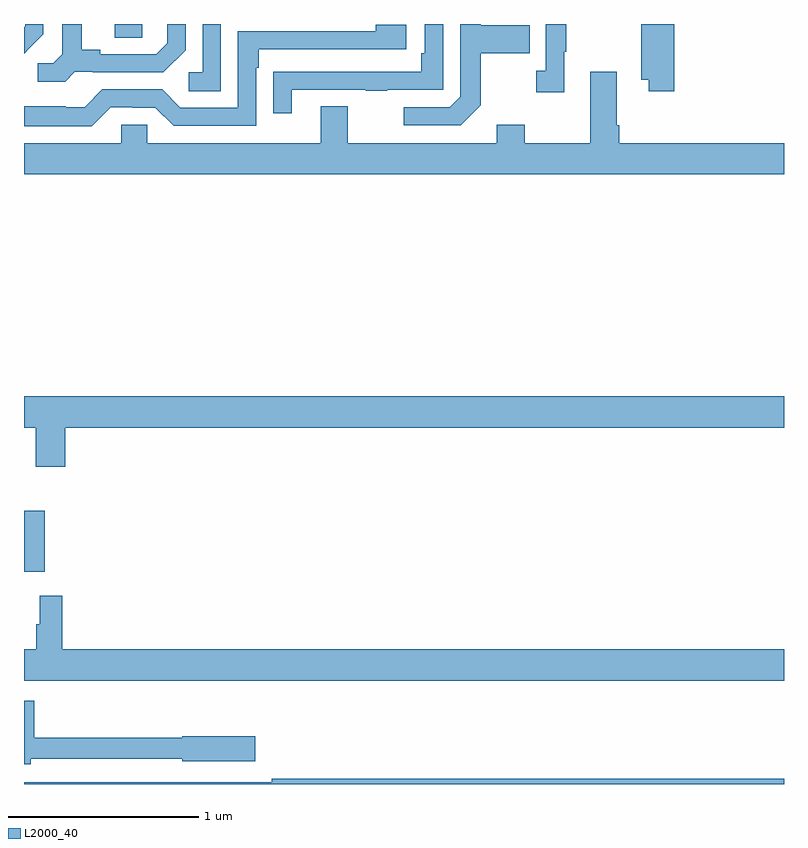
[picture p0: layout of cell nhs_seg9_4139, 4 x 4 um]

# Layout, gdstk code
import gdstk
lib = gdstk.Library(unit=1e-6, precision=1e-09)
def R(c, l, rs):  # rectangles x0, y0, x1, y1
    for r in rs: c.add(gdstk.rectangle(r[:2], r[2:], *l))
def P(c, l, *ps):  # polygons
    for p in ps: c.add(gdstk.Polygon(p, *l))
L2000_40 = (2000, 40)

nhs_seg9_4139 = lib.new_cell('nhs_seg9_4139')
R(nhs_seg9_4139, L2000_40, [(347,1239.618,347.108,1239.937), (347.477,1242.427,347.622,1242.5)])
P(nhs_seg9_4139, L2000_40, [(347.028,1242.372),(347.027,1242.373),(347.1,1242.446),(347.1,1242.5),(347.006,1242.5),(347.006,1242.488),(347,1242.482),(347,1242.344)],
  [(350.423,1242.5),(350.248,1242.5),(350.248,1242.206),(350.288,1242.206),(350.288,1242.147),(350.423,1242.147)],
  [(348.036,1242.5),(347.94,1242.5),(347.94,1242.246),(347.868,1242.246),(347.868,1242.145),(348.036,1242.145)],
  [(349.843,1242.353),(349.855,1242.353),(349.855,1242.5),(349.746,1242.5),(349.746,1242.254),(349.695,1242.254),(349.695,1242.141),(349.843,1242.141)],
  [(349.405,1242.073),(349.405,1242.346),(349.661,1242.346),(349.661,1242.493),(349.405,1242.493),(349.405,1242.5),(349.296,1242.5),(349.296,1242.117),(349.242,1242.063),(348.999,1242.063),(348.999,1241.967),(349.299,1241.967)],
  [(347.268,1242.249),(347.362,1242.249),(347.362,1242.246),(347.734,1242.246),(347.85,1242.362),(347.85,1242.5),(347.753,1242.5),(347.753,1242.399),(347.696,1242.342),(347.401,1242.342),(347.401,1242.365),(347.305,1242.365),(347.305,1242.5),(347.201,1242.5),(347.201,1242.341),(347.154,1242.294),(347.073,1242.294),(347.073,1242.197),(347.216,1242.197)],
  [(348.409,1242.153),(348.799,1242.153),(348.799,1242.148),(348.911,1242.148),(348.911,1242.153),(349.206,1242.153),(349.206,1242.5),(349.11,1242.5),(349.11,1242.346),(349.09,1242.346),(349.09,1242.249),(348.415,1242.249),(348.415,1242.248),(348.313,1242.248),(348.313,1242.03),(348.409,1242.03)],
  [(347.457,1242.063),(347.573,1242.063),(347.573,1242.06),(347.691,1242.06),(347.787,1241.964),(348.222,1241.964),(348.222,1242.269),(348.235,1242.269),(348.235,1242.366),(349.012,1242.366),(349.012,1242.496),(348.851,1242.496),(348.851,1242.462),(348.126,1242.462),(348.126,1242.06),(347.823,1242.06),(347.727,1242.156),(347.412,1242.156),(347.319,1242.063),(347.219,1242.063),(347.219,1242.067),(347,1242.067),(347,1241.963),(347.357,1241.963)],
  [(351,1241.872),(350.132,1241.872),(350.132,1241.968),(350.119,1241.968),(350.119,1242.25),(349.979,1242.25),(349.979,1241.872),(349.635,1241.872),(349.635,1241.971),(349.487,1241.971),(349.487,1241.872),(348.703,1241.872),(348.703,1242.067),(348.563,1242.067),(348.563,1241.872),(347.649,1241.872),(347.649,1241.97),(347.511,1241.97),(347.511,1241.872),(347,1241.872),(347,1241.708),(351,1241.708)],
  [(347.216,1240.376),(351,1240.376),(351,1240.54),(347,1240.54),(347,1240.376),(347.063,1240.376),(347.063,1240.17),(347.216,1240.17)],
  [(351,1239.208),(347.201,1239.208),(347.201,1239.49),(347.084,1239.49),(347.084,1239.341),(347.065,1239.341),(347.065,1239.208),(347,1239.208),(347,1239.044),(351,1239.044)],
  [(347.035,1238.634),(347.832,1238.634),(347.832,1238.621),(348.217,1238.621),(348.217,1238.751),(347.832,1238.751),(347.832,1238.743),(347.054,1238.743),(347.054,1238.938),(347,1238.938),(347,1238.603),(347.035,1238.603)],
  [(351,1238.528),(348.304,1238.528),(348.304,1238.508),(347,1238.508),(347,1238.5),(351,1238.5)])

lib.write_gds('nhs_seg9_4139.gds')
